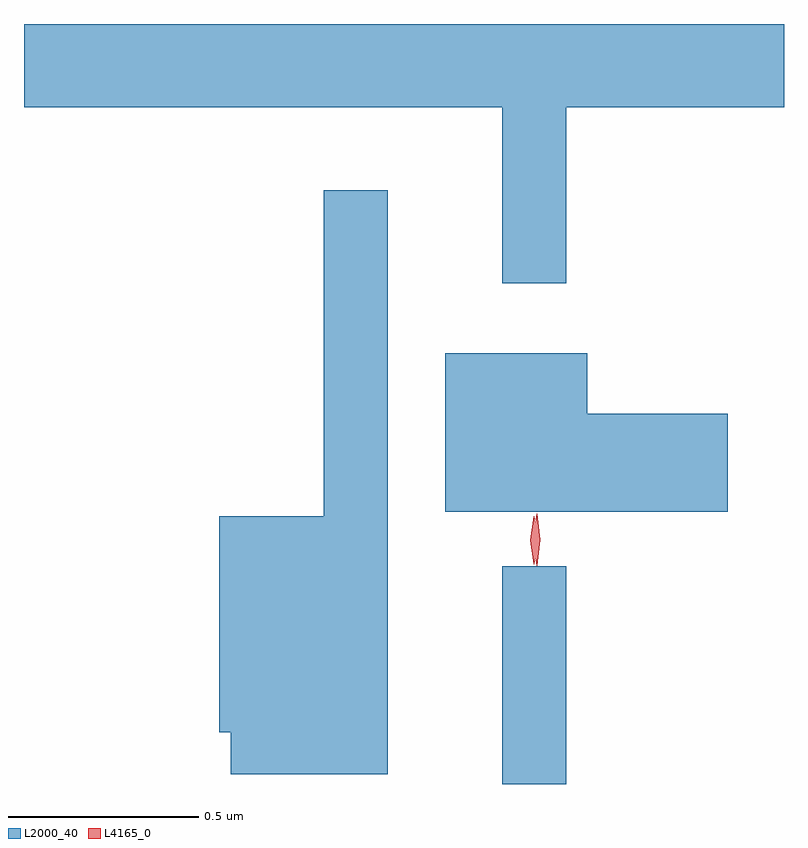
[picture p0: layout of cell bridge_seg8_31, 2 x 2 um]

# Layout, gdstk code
import gdstk
lib = gdstk.Library(unit=1e-6, precision=1e-09)
def R(c, l, rs):  # rectangles x0, y0, x1, y1
    for r in rs: c.add(gdstk.rectangle(r[:2], r[2:], *l))
def P(c, l, *ps):  # polygons
    for p in ps: c.add(gdstk.Polygon(p, *l))
L2000_40 = (2000, 40)
L4165_0 = (4165, 0)

bridge_seg8_31 = lib.new_cell('bridge_seg8_31')
R(bridge_seg8_31, L2000_40, [(1733.011,1918.995,1733.179,1919.568)])
P(bridge_seg8_31, L2000_40, [(1733.179,1920.776),(1733.752,1920.776),(1733.752,1920.995),(1731.752,1920.995),(1731.752,1920.776),(1733.011,1920.776),(1733.011,1920.313),(1733.179,1920.313)],
  [(1732.709,1920.558),(1732.541,1920.558),(1732.541,1919.699),(1732.266,1919.699),(1732.266,1919.131),(1732.296,1919.131),(1732.296,1919.021),(1732.709,1919.021)],
  [(1733.604,1919.969),(1733.234,1919.969),(1733.234,1920.129),(1732.861,1920.129),(1732.861,1919.711),(1733.604,1919.711)])
P(bridge_seg8_31, L4165_0, [(1733.101,1919.57),(1733.101,1919.57),(1733.091,1919.638),(1733.101,1919.706),(1733.101,1919.706),(1733.102,1919.706),(1733.111,1919.638),(1733.102,1919.57)],
  [(1733.094,1919.573),(1733.084,1919.636),(1733.094,1919.699),(1733.094,1919.7),(1733.095,1919.699),(1733.104,1919.636),(1733.095,1919.573),(1733.095,1919.573)])

lib.write_gds('bridge_seg8_31.gds')
